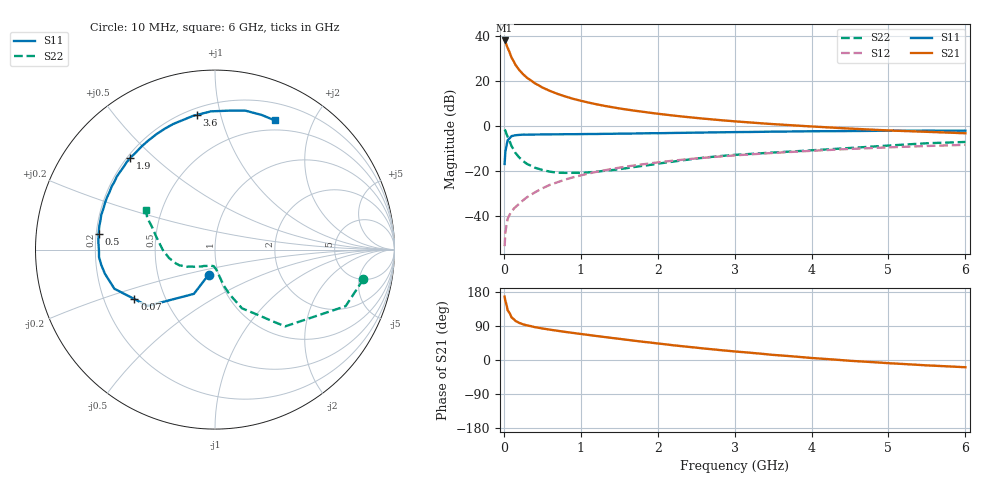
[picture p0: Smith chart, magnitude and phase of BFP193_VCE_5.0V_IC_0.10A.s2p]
! (c) 2017  Infineon Technologies AG, Munich
! Infineon Technologies  Discrete & RF Semiconductors
! BFP193
! VCE =  5.0 V,  IC = 0.10 A
! Common Emitter S-Parameters:  Jan 2017
# GHz  S  MA  R  50
!  f  S11  S21  S12  S22
! GHz  MAG  ANG  MAG  ANG  MAG  ANG  MAG  ANG
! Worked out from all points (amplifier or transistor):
!   77 points, 10 MHz to 6 GHz, reference 50 ohm
!   highest |S21| = 37.9 dB at 10 MHz (marker M1)
!   |S21| within 3 dB of that: start of sweep to 46.13 MHz
!   unconditionally stable (mu >= 1): 276.8 MHz to 2.626 GHz
!   at 130 MHz: K = 0.78, MSG = 32.5 dB, |S12| = -36.5 dB
!   at 2.2 GHz: K = 1.02, MAG = 9.1 dB, |S12| = -15.3 dB
!   at 6 GHz: K = 0.94, MSG = 2.6 dB, |S12| = -8.3 dB
!   S11 on the Smith chart (normalised r, x): 10 MHz: 0.90, -0.26; 70 MHz: 0.33, -0.25; 500 MHz: 0.21, +0.06; 1.9 GHz: 0.21, +0.42; 3.6 GHz: 0.24, +0.84; 6 GHz: 0.38, +1.49
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0.01  0.1452 -104.4  78.77 167.3  0.0022 80.5  0.8429 -11.3
0.02  0.2732 -115.5  74.39 155.7  0.0043 75.4  0.7932 -23.4
0.05  0.4893 -140.1  53.69 130.8  0.0089 63.4  0.5794 -47.6
0.07  0.5271 -148.5  44.85 125.4  0.0105 62.5  0.4868 -52.8
0.1  0.6013 -158.7  32.83 112.0  0.013 61.5  0.3601 -65.3
0.15  0.6279 -167.6  22.91 103.3  0.0161 63.6  0.2569 -72.4
0.2  0.6395 -172.4  17.48 98.0  0.0191 66.9  0.2024 -76.6
0.25  0.6475 -176.3  14.11 94.1  0.0228 67.3  0.1691 -78.8
0.3  0.6465 -179.3  11.79 91.4  0.0266 69.2  0.146 -81.1
0.4  0.6514 176.2  8.94 86.8  0.0338 71.6  0.1206 -84.4
0.5  0.6543 172.4  7.168 83.2  0.0419 71.4  0.107 -87.7
0.7  0.6585 166.0  5.159 77.1  0.0574 72.7  0.0928 -94.3
0.9  0.6623 159.8  4.024 71.4  0.0735 70.8  0.0925 -102.1
1.1  0.6684 154.2  3.324 66.1  0.0892 69.1  0.0946 -109.5
1.5  0.6816 143.4  2.466 55.9  0.1201 64.4  0.111 -124.7
1.9  0.6963 132.8  1.979 46.1  0.15 59.6  0.1384 -137.0
2.1  0.7007 127.7  1.797 41.4  0.1645 56.7  0.1554 -142.3
3.1  0.7395 106.6  1.24 20.9  0.2306 43.8  0.2364 -162.5
3.6  0.7569 97.8  1.081 12.0  0.2606 37.9  0.266 -171.8
4.1  0.7711 90.1  0.962 3.9  0.2894 31.8  0.2981 177.7
5.1  0.7919 76.4  0.791 -9.5  0.3435 19.7  0.3802 159.2
6  0.7932 65.2  0.695 -19.1  0.3855 9.4  0.4464 150.0
